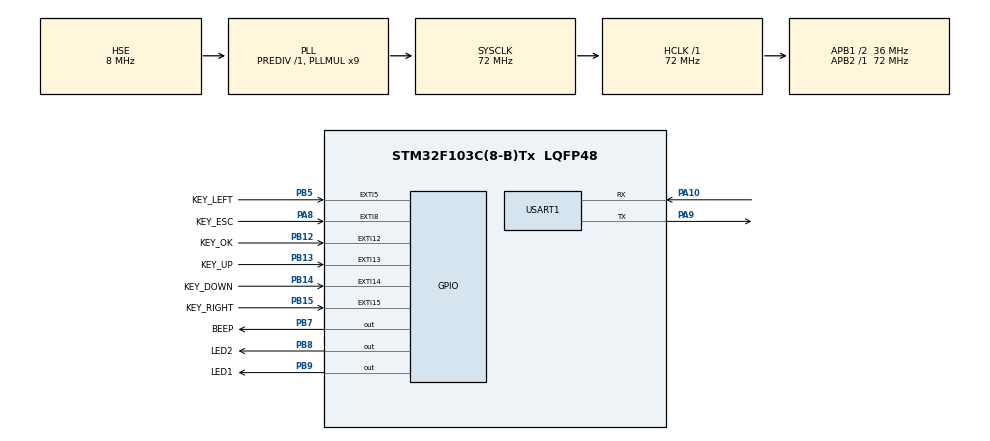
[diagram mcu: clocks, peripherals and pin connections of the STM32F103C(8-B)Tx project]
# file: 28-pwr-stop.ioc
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Dma.Request0=USART1_RX
Dma.USART1_RX.0.Direction=DMA_PERIPH_TO_MEMORY
Dma.USART1_RX.0.Instance=DMA1_Channel5
Dma.USART1_RX.0.MemDataAlignment=DMA_MDATAALIGN_BYTE
Dma.USART1_RX.0.MemInc=DMA_MINC_ENABLE
Dma.USART1_RX.0.Mode=DMA_CIRCULAR
Dma.USART1_RX.0.PeriphDataAlignment=DMA_PDATAALIGN_BYTE
Dma.USART1_RX.0.PeriphInc=DMA_PINC_DISABLE
Dma.USART1_RX.0.Priority=DMA_PRIORITY_LOW
Mcu.Family=STM32F1
Mcu.Name=STM32F103C(8-B)Tx
Mcu.Package=LQFP48
NVIC.DMA1_Channel5_IRQn=true\:0\:0\:false\:false\:true\:false\:true\:true
NVIC.EXTI15_10_IRQn=true\:0\:0\:false\:false\:true\:true\:true\:true
NVIC.EXTI9_5_IRQn=true\:0\:0\:false\:false\:true\:true\:true\:true
NVIC.PriorityGroup=NVIC_PRIORITYGROUP_4
NVIC.USART1_IRQn=true\:0\:0\:false\:false\:true\:true\:true\:true
PA10.GPIO_PuPd=GPIO_PULLUP
PA10.Mode=Asynchronous
PA10.Signal=USART1_RX
PA8.GPIO_Label=KEY_ESC
PA8.GPIO_ModeDefaultEXTI=GPIO_MODE_IT_FALLING
PA8.GPIO_PuPd=GPIO_PULLUP
PA8.Signal=GPXTI8
PA9.Mode=Asynchronous
PA9.Signal=USART1_TX
PB12.GPIO_Label=KEY_OK
PB12.GPIO_ModeDefaultEXTI=GPIO_MODE_IT_FALLING
PB12.GPIO_PuPd=GPIO_PULLUP
PB12.Signal=GPXTI12
PB13.GPIO_Label=KEY_UP
PB13.GPIO_ModeDefaultEXTI=GPIO_MODE_IT_FALLING
PB13.GPIO_PuPd=GPIO_PULLUP
PB13.Signal=GPXTI13
PB14.GPIO_Label=KEY_DOWN
PB14.GPIO_ModeDefaultEXTI=GPIO_MODE_IT_FALLING
PB14.GPIO_PuPd=GPIO_PULLUP
PB14.Signal=GPXTI14
PB15.GPIO_Label=KEY_RIGHT
PB15.GPIO_ModeDefaultEXTI=GPIO_MODE_IT_FALLING
PB15.GPIO_PuPd=GPIO_PULLUP
PB15.Signal=GPXTI15
PB5.GPIO_Label=KEY_LEFT
PB5.GPIO_ModeDefaultEXTI=GPIO_MODE_IT_FALLING
PB5.GPIO_PuPd=GPIO_PULLUP
PB5.Signal=GPXTI5
PB7.GPIO_Label=BEEP
PB7.PinState=GPIO_PIN_SET
PB7.Signal=GPIO_Output
PB8.GPIO_Label=LED2
PB8.PinState=GPIO_PIN_SET
PB8.Signal=GPIO_Output
PB9.GPIO_Label=LED1
PB9.PinState=GPIO_PIN_SET
PB9.Signal=GPIO_Output
PD0-OSC_IN.Mode=HSE-External-Oscillator
PD0-OSC_IN.Signal=RCC_OSC_IN
PD1-OSC_OUT.Mode=HSE-External-Oscillator
PD1-OSC_OUT.Signal=RCC_OSC_OUT
ProjectManager.HeapSize=0x200
ProjectManager.StackSize=0x400
ProjectManager.TargetToolchain=MDK-ARM V5.32
RCC.AHBFreq_Value=72000000
RCC.APB1CLKDivider=RCC_HCLK_DIV2
RCC.APB1Freq_Value=36000000
RCC.APB1TimFreq_Value=72000000
RCC.APB2Freq_Value=72000000
RCC.APB2TimFreq_Value=72000000
RCC.HCLKFreq_Value=72000000
RCC.PLLMUL=RCC_PLL_MUL9
RCC.PLLSourceVirtual=RCC_PLLSOURCE_HSE
RCC.SYSCLKFreq_VALUE=72000000
RCC.SYSCLKSource=RCC_SYSCLKSOURCE_PLLCLK
RCC.USBFreq_Value=72000000
USART1.VirtualMode=VM_ASYNC
VP_SYS_VS_ND.Mode=No_Debug
board=custom

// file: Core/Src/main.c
/* USER CODE BEGIN Header */
/**
 ******************************************************************************
 * @file           : main.c
 * @brief          : Main program body
 ******************************************************************************
 * @attention
 *
 * Copyright (c) 2025 STMicroelectronics.
 * All rights reserved.
 *
 * This software is licensed under terms that can be found in the LICENSE file
 * in the root directory of this software component.
 * If no LICENSE file comes with this software, it is provided AS-IS.
 *
 ******************************************************************************
 */
/* USER CODE END Header */
#include "main.h"
#include "dma.h"
#include "usart.h"
#include "gpio.h"

/* USER CODE BEGIN Includes */
#include <stdio.h>
/* USER CODE END Includes */

void SystemClock_Config(void);

int main(void)
{

  /* MCU Configuration--------------------------------------------------------*/

  /* Reset of all peripherals, Initializes the Flash interface and the Systick. */
  HAL_Init();

  /* Configure the system clock */
  SystemClock_Config();

  /* Initialize all configured peripherals */
  MX_GPIO_Init();
  MX_DMA_Init();
  MX_USART1_UART_Init();
  /* USER CODE BEGIN 2 */
  __HAL_UART_ENABLE_IT(&huart1, UART_IT_IDLE); // 开启空闲中断
  HAL_UART_Receive_DMA(&huart1, Rx1_Buf, DMA_BUF_SIZE);
  printf("PWR TEST\r\n");
  //    LED_control(LED1, ON);
  //	HAL_GPIO_WritePin(GPIOB,GPIO_PIN_9,GPIO_PIN_RESET);

  /* USER CODE END 2 */

  /* Infinite loop */
  /* USER CODE BEGIN WHILE */
  while (1)
  {
    // LED_Test();
    // BEEP_Test();
    /* USER CODE END WHILE */

    /* USER CODE BEGIN 3 */

    // 使用LED1 指示灯,指示系统正在运行
    // 使用LED1 指示灯,指示系统正在运行printf("System is Running\n");
    LED_control(LED1, ON);  // LED1 亮
    HAL_Delay(2000);        // 延时2秒
    LED_control(LED1, OFF); // LED1 灭
    // 使用 LED2指示,系统进入睡眠模式
    LED_control(LED2, ON); // LED2 亮
    HAL_SuspendTick();     // 暂停滴答定时器
    printf("System is sleeping\n");
    // HAL_PWR_EnterSLEEPMode(PWR_MAINREGULATOR_ON,PWR_SLEEPENTRY_WFI); // 进入睡眠模式
    HAL_PWR_EnterSTOPMode(PWR_MAINREGULATOR_ON, PWR_SLEEPENTRY_WFI); // 进入stop模式,
    // 等待被唤醒 ....... ,可以按下6个按键中的任何一个即可唤醒, 最好按下ESC,因为ESC默认动作时关闭蜂鸣器
    // 被唤醒后使用hsi时钟
    SystemClock_Config(); // 需要重新配置时钟72MHz
    // 被唤醒后
    HAL_ResumeTick(); // 恢复滴答定时器的计时
    printf("\nSystem is wakeup\n");
    LED_control(LED2, OFF); // LED2 灭
    // 获取重新配置后的时钟状态
    // 获取系统的时钟信息
    uint32_t SYSCLK_Frequency = HAL_RCC_GetSysClockFreq();
    uint32_t HCLK_Frequency = HAL_RCC_GetHCLKFreq();
    uint32_t PCLK1_Frequency = HAL_RCC_GetPCLK1Freq();
    uint32_t PCLK2_Frequency = HAL_RCC_GetPCLK2Freq();
    uint32_t SYSCLK_Source = __HAL_RCC_GET_SYSCLK_SOURCE();
    // printf("重新配置后的时钟状态: \n");
    printf("2: SYSCLK:%d,\n HCLK:%d,\n PCLK1:%d,\n PCLK2:%d,\n Source:%d (0 HSI ,8 PLLCLK)\n",
           SYSCLK_Frequency, HCLK_Frequency, PCLK1_Frequency, PCLK2_Frequency, SYSCLK_Source);
  }
  /* USER CODE END 3 */
}

void SystemClock_Config(void)
{
  RCC_OscInitTypeDef RCC_OscInitStruct = {0};
  RCC_ClkInitTypeDef RCC_ClkInitStruct = {0};

  /** Initializes the RCC Oscillators according to the specified parameters
   * in the RCC_OscInitTypeDef structure.
   */
  RCC_OscInitStruct.OscillatorType = RCC_OSCILLATORTYPE_HSE;
  RCC_OscInitStruct.HSEState = RCC_HSE_ON;
  RCC_OscInitStruct.HSEPredivValue = RCC_HSE_PREDIV_DIV1;
  RCC_OscInitStruct.HSIState = RCC_HSI_ON;
  RCC_OscInitStruct.PLL.PLLState = RCC_PLL_ON;
  RCC_OscInitStruct.PLL.PLLSource = RCC_PLLSOURCE_HSE;
  RCC_OscInitStruct.PLL.PLLMUL = RCC_PLL_MUL9;
  if (HAL_RCC_OscConfig(&RCC_OscInitStruct) != HAL_OK)
  {
    Error_Handler();
  }

  /** Initializes the CPU, AHB and APB buses clocks
   */
  RCC_ClkInitStruct.ClockType = RCC_CLOCKTYPE_HCLK | RCC_CLOCKTYPE_SYSCLK | RCC_CLOCKTYPE_PCLK1 | RCC_CLOCKTYPE_PCLK2;
  RCC_ClkInitStruct.SYSCLKSource = RCC_SYSCLKSOURCE_PLLCLK;
  RCC_ClkInitStruct.AHBCLKDivider = RCC_SYSCLK_DIV1;
  RCC_ClkInitStruct.APB1CLKDivider = RCC_HCLK_DIV2;
  RCC_ClkInitStruct.APB2CLKDivider = RCC_HCLK_DIV1;

  if (HAL_RCC_ClockConfig(&RCC_ClkInitStruct, FLASH_LATENCY_2) != HAL_OK)
  {
    Error_Handler();
  }
}

void Error_Handler(void)
{
  __disable_irq();
  while (1)
  {
  }
}
